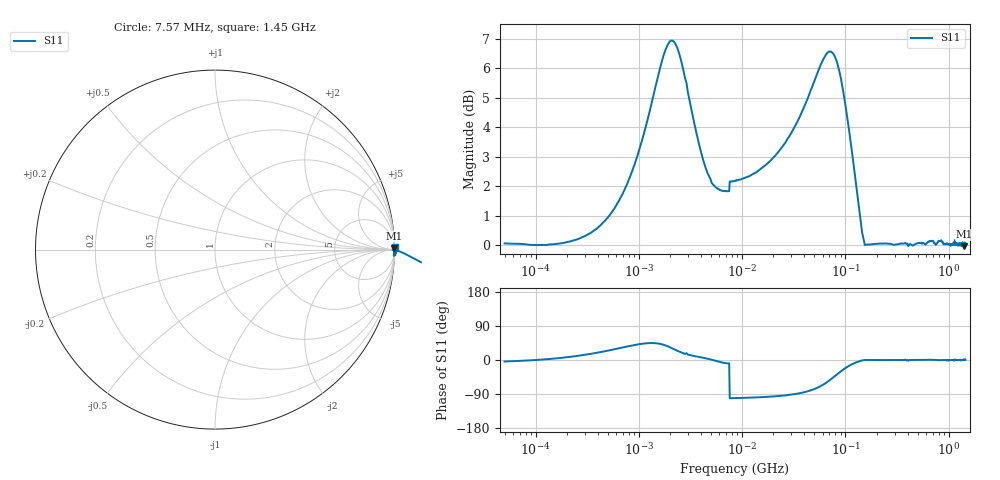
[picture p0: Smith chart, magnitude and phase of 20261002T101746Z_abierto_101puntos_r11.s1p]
! piloto_saltos / abierto_101puntos / r11
# HZ S RI R 50
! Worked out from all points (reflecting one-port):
!   501 points, 50 kHz to 1.45 GHz, reference 50 ohm
!   lowest |S11| = 0.0 dB at 1.405 GHz (marker M1), VSWR 488.48, Z = 4.49e+03 + j9.46e+03 ohm
!   phase of S11 starts at -4 deg and turns +5 deg over the sweep
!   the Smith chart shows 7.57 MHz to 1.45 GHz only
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50000  1.004 -0.0694
183000  1.002 0.1062
363500  1.008 0.318
658000  1.022 0.6297
1180000  1.151 1.115
1630000  1.5 1.353
1990000  1.842 1.232
2440000  1.958 0.8096
3430000  1.585 0.2921
4870000  1.297 0.0438
7300000  1.219 -0.1929
7750000  -0.2402 -1.259
8560000  -0.2352 -1.264
1.81e7  -0.1674 -1.372
3.16e7  -0.0114 -1.577
4.69e7  0.3374 -1.813
5.68e7  0.6982 -1.885
6.49e7  1.044 -1.828
7.39e7  1.398 -1.598
8.65e7  1.653 -1.1
9.82e7  1.627 -0.6721
1e8  1.611 -0.6191
1.18e8  1.378 -0.2438
1.36e8  1.148 -0.07
1.63e8  1.003 0.0017
4.06e8  0.9958 -0.0346
1.405e9  0.9959 0.00859
1.45e9  1.001 0.0151
